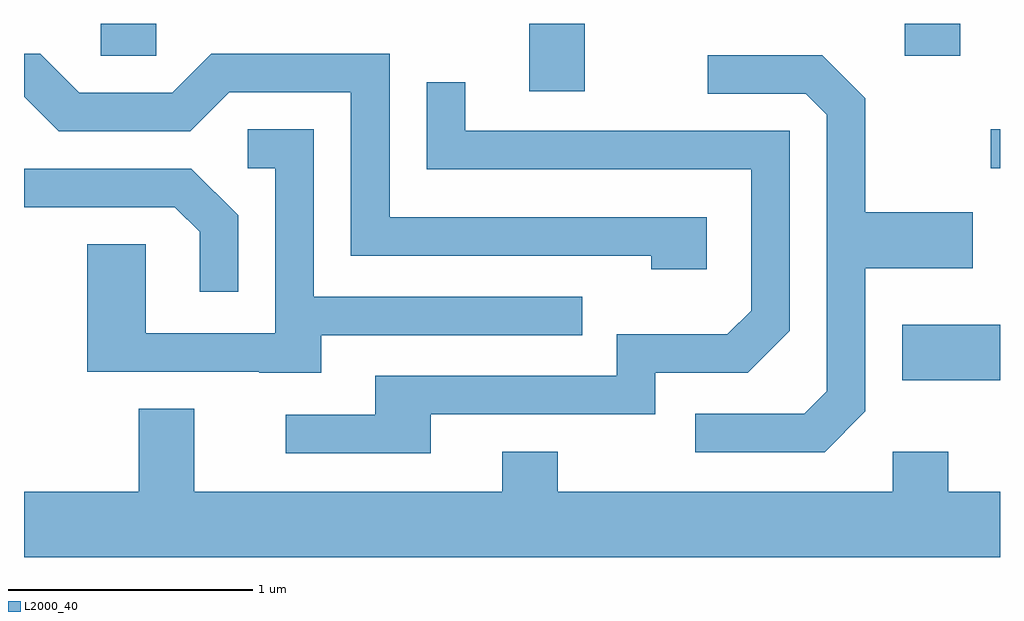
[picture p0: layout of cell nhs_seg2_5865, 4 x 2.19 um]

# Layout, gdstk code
import gdstk
lib = gdstk.Library(unit=1e-6, precision=1e-09)
def R(c, l, rs):  # rectangles x0, y0, x1, y1
    for r in rs: c.add(gdstk.rectangle(r[:2], r[2:], *l))
def P(c, l, *ps):  # polygons
    for p in ps: c.add(gdstk.Polygon(p, *l))
L2000_40 = (2000, 40)

nhs_seg2_5865 = lib.new_cell('nhs_seg2_5865')
R(nhs_seg2_5865, L2000_40, [(361.211,1082.341,361.611,1082.569), (361.573,1083.211,361.611,1083.369), (359.681,1083.526,359.909,1083.802), (357.926,1083.671,358.154,1083.802), (361.221,1083.671,361.449,1083.802)])
P(nhs_seg2_5865, L2000_40, [(360.409,1083.009),(359.109,1083.009),(359.109,1083.679),(358.379,1083.679),(358.219,1083.519),(357.837,1083.519),(357.677,1083.679),(357.611,1083.679),(357.611,1083.504),(357.754,1083.361),(358.292,1083.361),(358.452,1083.521),(358.951,1083.521),(358.951,1082.851),(360.181,1082.851),(360.181,1082.796),(360.409,1082.796)],
  [(361.059,1082.214),(361.059,1082.801),(361.499,1082.801),(361.499,1083.029),(361.059,1083.029),(361.059,1083.497),(360.882,1083.674),(360.413,1083.674),(360.413,1083.516),(360.814,1083.516),(360.901,1083.429),(360.901,1082.297),(360.809,1082.204),(360.363,1082.204),(360.363,1082.046),(360.892,1082.046)],
  [(359.279,1082.201),(360.199,1082.201),(360.199,1082.371),(360.577,1082.371),(360.749,1082.544),(360.749,1083.364),(359.419,1083.364),(359.419,1083.563),(359.261,1083.563),(359.261,1083.206),(360.591,1083.206),(360.591,1082.627),(360.494,1082.529),(360.041,1082.529),(360.041,1082.359),(359.051,1082.359),(359.051,1082.199),(358.683,1082.199),(358.683,1082.041),(359.279,1082.041)],
  [(358.829,1082.526),(359.898,1082.526),(359.898,1082.684),(358.799,1082.684),(358.799,1083.369),(358.528,1083.369),(358.528,1083.211),(358.641,1083.211),(358.641,1082.534),(358.109,1082.534),(358.109,1082.899),(357.871,1082.899),(357.871,1082.376),(358.575,1082.376),(358.575,1082.371),(358.829,1082.371)],
  [(358.489,1083.017),(358.297,1083.209),(357.611,1083.209),(357.611,1083.051),(358.229,1083.051),(358.331,1082.949),(358.331,1082.703),(358.489,1082.703)],
  [(361.611,1081.884),(361.399,1081.884),(361.399,1082.049),(361.171,1082.049),(361.171,1081.884),(359.799,1081.884),(359.799,1082.049),(359.571,1082.049),(359.571,1081.884),(358.309,1081.884),(358.309,1082.224),(358.081,1082.224),(358.081,1081.884),(357.611,1081.884),(357.611,1081.616),(361.611,1081.616)])

lib.write_gds('nhs_seg2_5865.gds')
